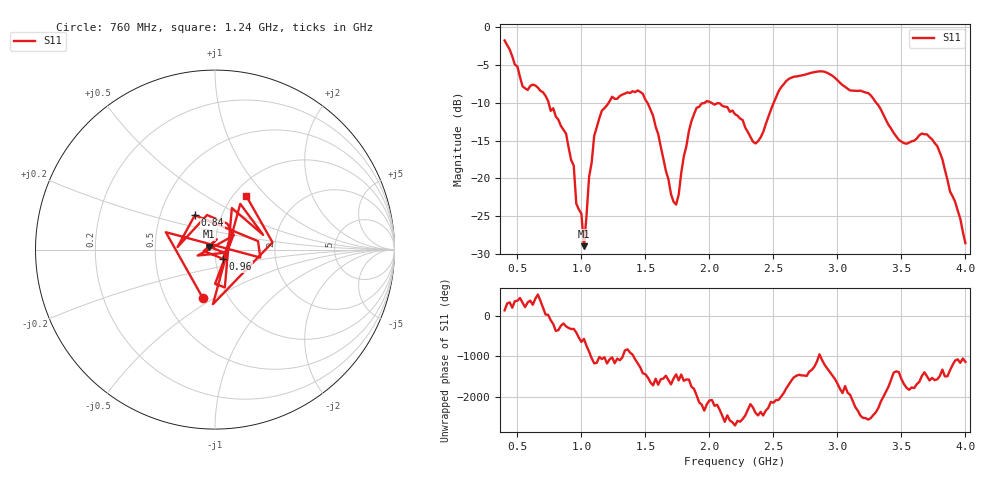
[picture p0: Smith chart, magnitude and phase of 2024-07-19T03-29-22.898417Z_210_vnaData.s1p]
!Created with skrf (http://scikit-rf.org).
# Hz S RI R 50.0
!freq ReS11 ImS11
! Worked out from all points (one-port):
!   181 points, 400 MHz to 4 GHz, reference 50 ohm
!   lowest |S11| = -29.0 dB at 1.02 GHz (marker M1), VSWR 1.07, Z = 46.9 + j1.49 ohm
!   |S11| at or under -10 dB: 743.4 MHz to 1.213 GHz (469.5 MHz wide, 48 % of centre); 2.015 GHz to 2.503 GHz (487.9 MHz wide, 21.6 % of centre); 3.303 GHz to end of sweep (the widest 3 of 4)
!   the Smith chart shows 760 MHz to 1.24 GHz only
!   S11 on the Smith chart (normalised r, x): 760 MHz: 0.76, -0.45; 840 MHz: 0.75, +0.30; 960 MHz: 1.09, -0.11; 1.24 GHz: 1.14, +0.78
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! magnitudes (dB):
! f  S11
! 400 MHz  -1.8
! 540 MHz  -7.8
! 760 MHz  -11.1
! 840 MHz  -13.1
! 860 MHz  -13.6
! 940 MHz  -18.3
! 960 MHz  -23.3
! 1 GHz  -24.7
! 1.02 GHz  -29.0
! 1.06 GHz  -19.8
! 1.1 GHz  -14.4
! 1.24 GHz  -9.2
! 1.3 GHz  -9.1
! 1.48 GHz  -8.8
! 1.56 GHz  -11.7
! 1.72 GHz  -23.1
! 1.76 GHz  -22.2
! 1.84 GHz  -13.7
! 1.9 GHz  -10.7
! 2.2 GHz  -11.5
! 2.36 GHz  -15.4
! 2.66 GHz  -6.6
! 2.9 GHz  -5.9
! 3.1 GHz  -8.4
! 3.26 GHz  -9.0
! 3.56 GHz  -15.3
! 3.78 GHz  -15.7
! 4 GHz  -28.6
